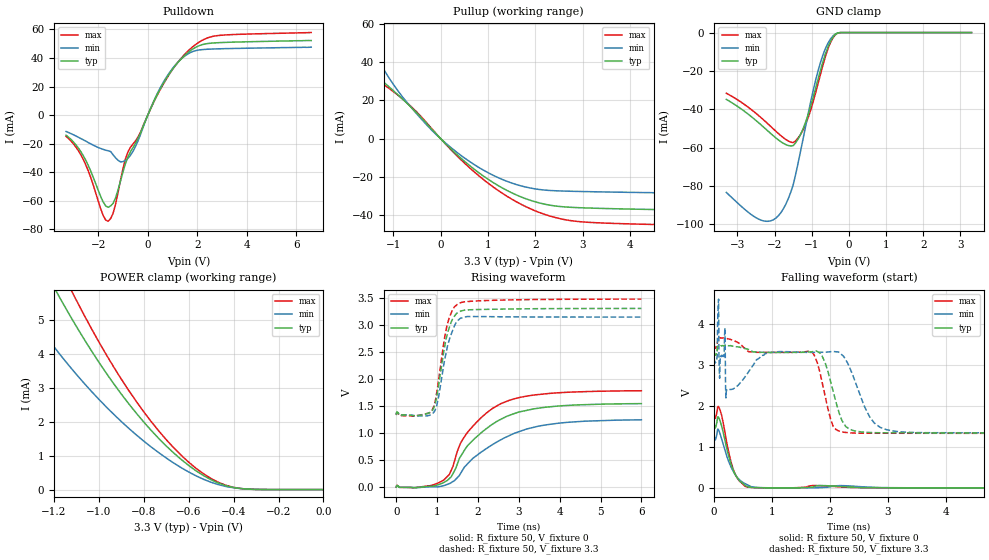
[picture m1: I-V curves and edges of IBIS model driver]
| IBIS file io_buf_50ps.ibs created by PYS2IBIS3
| Missouri S&T EMC Lab
[IBIS Ver] 5.1
[File Name] io_buf_50ps.ibs
[File Rev] 0.1
[Date] December 6, 2025
[Source] Netlist generated by Grok
[Notes] testing the exe by Simon
[Disclaimer] This buffer is not a real buffer. It is a imaginay buffer. What
 is a imaginay buffer? An imagnary buffer is a buffer that is...
[Copyright] Missouri S&T EMC Lab
[Component] MCM Driver 1
[Manufacturer] MegaFLOPS Inc.
[Package]
| variable   typ   min   max
R_pkg 0 NA NA
L_pkg 0H NA NA
C_pkg 0F NA NA
[Pin]  signal_name   model_name   R_pin   L_pin   C_pin
vss   vss   GND
vdd   vdd   POWER
| oe oe dummy
| in in dummy
out   out   driver
| End of Component
| Models and submodels in the file (1): driver (I/O)
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[Model] driver
Model_type I/O
Polarity Non-Inverting
Enable Active-High
Vinl  = 0.8V
Vinh  = 2V
C_comp 1.2000pF 1.0000pF 1.4000pF
[Temperature Range] 27.0000 100.0000 0.0000
[Voltage Range] 3.3000V 3.0000V 3.6000V
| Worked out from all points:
|   slope of the pulldown table from 0 to 0.495 V, typ, clamps not added: 27.4 ohm
|   slope of the pullup table from 0 to 0.495 V, typ, clamps not added: 42.7 ohm
|   GND clamp passes 1 mA (typ) near -0.36 V on its own axis
|   POWER clamp passes 1 mA (typ) near -0.65 V on its own axis
|   rising waveform, R_fixture 50, V_fixture 0: 20-80 % time 1.08ns typ, 1.32ns min, 928ps max; typ from 0 V to 1.54 V
|   rising waveform, R_fixture 50, V_fixture 3.3: 20-80 % time 277ps typ, 278ps min, 270ps max; typ from 1.34 V to 3.3 V
|   falling waveform, R_fixture 50, V_fixture 0: 20-80 % time 195ps typ, 232ps min, 180ps max; typ from 1.54 V to 0 V
|   falling waveform, R_fixture 50, V_fixture 3.3: 20-80 % time 233ps typ, 315ps min, 211ps max; typ from 3.3 V to 1.34 V
[Pulldown]
| Voltage   I(typ)   I(min)   I(max)
-3.3V     -14.11mA   -11.49mA   -14.92mA
-2.6V     -28.62mA   -17.33mA   -31.26mA
-1.8V     -60.89mA   -24.01mA   -70.36mA
-1.6V     -64.58mA   -24.99mA   -74.37mA
-1.3V     -57.87mA   -29.98mA   -62.22mA
-1V       -39.62mA   -32.58mA   -37.38mA
-800mV    -29.26mA   -30.26mA   -25.73mA
-400mV    -16.61mA   -18.23mA   -15.56mA
600mV     21.34mA    22.16mA    20.91mA
1.7V      44.86mA    43.6mA     46.12mA
2.8V      50.65mA    46.37mA    55.62mA
6.6V      52.2mA     47.56mA    57.78mA
[Pullup]
| Voltage   I(typ)   I(min)   I(max)
-3.3V     52.9mA     288mA      32.03mA
-2.9V     57.26mA    200.3mA    40.86mA
-2.5V     55.97mA    137.1mA    43.93mA
-2.2V     50.87mA    101.5mA    42.91mA
-1.7V     40.21mA    61.42mA    36.21mA
-1V       25.06mA    28.32mA    24.59mA
-200mV    5.278mA    4.74mA     5.561mA
600mV     -13.78mA   -11.72mA   -14.92mA
1.5V      -28.2mA    -23.1mA    -31.5mA
2.2V      -34.15mA   -26.79mA   -39.49mA
2.9V      -35.95mA   -27.49mA   -43.18mA
6.6V      -37.71mA   -28.71mA   -45.68mA
[GND Clamp]
| Voltage   I(typ)   I(min)   I(max)
-3.3V     -34.82mA   -83.32mA   -31.62mA
-2.367V   -48.08mA   -97.77mA   -44.32mA
-2.1V     -52.69mA   -98.1mA    -49.02mA
-1.833V   -56.87mA   -93.93mA   -53.7mA
-1.633V   -58.86mA   -86.63mA   -56.5mA
-1.5V     -58.92mA   -79.34mA   -57.37mA
-1.233V   -50.13mA   -55.35mA   -50.74mA
-1.033V   -38.66mA   -36.46mA   -40.67mA
-766.7mV  -19.68mA   -15.62mA   -21.83mA
-566.7mV  -7.562mA   -5.625mA   -8.589mA
-366.7mV  -1.04mA    -747.4uA   -1.186mA
3.3V      806.1pA    7.276uA    187.3pA
[POWER Clamp]
| Voltage   I(typ)   I(min)   I(max)
-3.3V     69.1mA     63.7mA     73.07mA
-1.367V   8.162mA    5.773mA    9.455mA
-1.2V     5.986mA    4.223mA    6.947mA
-1.167V   5.586mA    3.941mA    6.483mA
-1.133V   5.198mA    3.669mA    6.033mA
-1.1V     4.823mA    3.406mA    5.596mA
-966.7mV  3.44mA     2.442mA    3.986mA
-833.3mV  2.26mA     1.618mA    2.607mA
-700mV    1.29mA     934.1uA    1.477mA
-566.7mV  553.4uA    405uA      627uA
-400mV    62.27uA    53.24uA    65.79uA
0V        806.1pA    6.115nA    316.9pA
[Ramp]
| variable   typ   min   max
dV/dt_r 0.9240/1.079n 0.7446/1.321n 1.0668/0.9278n
dV/dt_f 1.1772/0.2338n 1.0914/0.3121n 1.2714/0.2043n
R_load = 50
[Rising Waveform]
R_fixture = 50
V_fixture = 0
|time   V(typ)   V(min)   V(max)
0s        7.302nV    59.67nV    2.904nV
846.8ps   13.19mV    3.981mV    25.43mV
1.165ns   84.11mV    25.15mV    129.6mV
1.345ns   186.9mV    80.2mV     306.2mV
1.556ns   540.9mV    226.1mV    780mV
1.754ns   770.2mV    435.3mV    1.018V
2.204ns   1.077V     709mV      1.365V
2.739ns   1.316V     939.7mV    1.595V
3.784ns   1.483V     1.162V     1.731V
6ns       1.54V      1.241V     1.778V
[Rising Waveform]
R_fixture = 50
V_fixture = 3.3
|time   V(typ)   V(min)   V(max)
0s        1.338V     1.342V     1.329V
450.5ps   1.313V     1.319V     1.309V
882.9ps   1.41V      1.35V      1.424V
991ps     1.668V     1.504V     1.737V
1.159ns   2.485V     2.238V     2.638V
1.237ns   2.785V     2.543V     2.967V
1.363ns   3.076V     2.861V     3.253V
1.514ns   3.224V     3.079V     3.388V
1.784ns   3.273V     3.151V     3.429V
6ns       3.3V       3.139V     3.471V
[Falling Waveform]
R_fixture = 50
V_fixture = 0
|time   V(typ)   V(min)   V(max)
0s        1.545V     1.247V     1.783V
24ps      1.466V     1.175V     1.701V
66.1ps    1.732V     1.434V     1.98V
90.1ps    1.683V     1.371V     1.944V
132.1ps   1.499V     1.186V     1.76V
228.2ps   905.5mV    735.5mV    1.036V
336.3ps   413.1mV    389.7mV    428.8mV
432.4ps   184.9mV    205.5mV    174.7mV
576.6ps   28.34mV    73.17mV    20.06mV
6ns       1.471uV    -1.584uV   3.793uV
[Falling Waveform]
R_fixture = 50
V_fixture = 3.3
|time   V(typ)   V(min)   V(max)
0s        3.3V       3.139V     3.472V
54.1ps    3.363V     3.23V      3.514V
78.1ps    3.461V     4.6V       3.662V
96.1ps    3.465V     2.672V     3.664V
186.2ps   3.473V     3.899V     3.649V
204.2ps   3.463V     2.191V     3.646V
1.694ns   3.317V     3.302V     3.306V
2.174ns   1.776V     3.286V     1.376V
2.967ns   1.341V     1.423V     1.329V
6ns       1.338V     1.342V     1.329V
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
